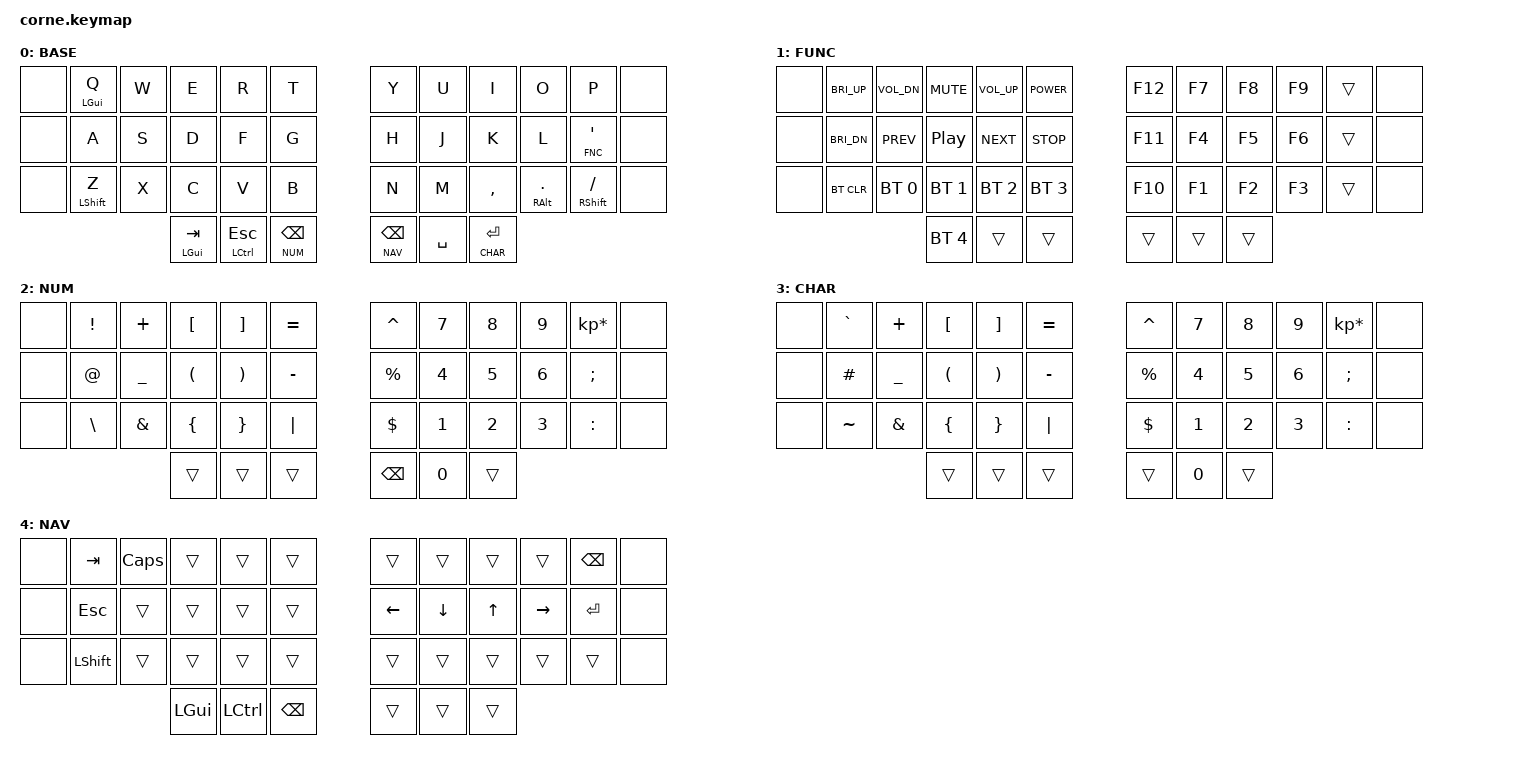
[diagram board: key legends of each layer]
/*
 * Copyright (c) 2020 The ZMK Contributors
 *
 * SPDX-License-Identifier: MIT
 */

#include <behaviors.dtsi>
#include <dt-bindings/zmk/keys.h>
#include <dt-bindings/zmk/bt.h>

#define BASE 0
#define FNC  1
#define NUM  2
#define CHAR 3
#define NAV  4

&lt {
        tapping-term-ms = <175>;
        flavor = "hold-preferred";
};

/ {
        behaviors {
                hm: homerow_mods {
                        compatible = "zmk,behavior-hold-tap";
                        label = "homerow mods";
                        #binding-cells = <2>;
                        tapping_term_ms = <150>;
                        flavor = "balanced";
                        bindings = <&kp>, <&kp>;
                };

                dk: delete_keys {
                        compatible = "zmk,behavior-hold-tap";
                        label = "delete keys";
                        #binding-cells = <2>;
                        tapping_term_ms = <150>;
                        quick-tap-ms = <100>;
                        flavor = "hold-preferred";
                        bindings = <&mo>, <&kp>;
                };

                sh: shift_keys {
                        compatible = "zmk,behavior-hold-tap";
                        label = "shift keys";
                        #binding-cells = <2>;
                        tapping_term_ms = <170>;
                        quick-tap-ms = <90>;
                        flavor = "hold-preferred";
                        bindings = <&kp>, <&kp>;
                };

                fb: function_button {
                        compatible = "zmk,behavior-hold-tap";
                        label = "function button";
                        #binding-cells = <2>;
                        tapping_term_ms = <200>;
                        require-prior-idle-ms = <125>;
                        flavor = "tap-preferred";
                        bindings = <&mo>, <&kp>;
                };
        };

        keymap {
                compatible = "zmk,keymap";

                default_layer {
                        label = "BASE";
// -----------------------------------------------------------------------------------------
// |  Q  |  W  |  E  |  R  |  T  |   |  Y  |  U   |  I            |  O  |  P  |
// |  A  |  S  |  D  |  F  |  G  |   |  H  |  J   |  K            |  L  |  '  |
// |  Z  |  X  |  C  |  V  |  B  |   |  N  |  M   |  ,            |  .  |  /  |
//                    | GUI | LWR | SPC |  | ESC  | RSHIFT/SPACE  | ALT |
                        bindings = <
  &none   &hm LGUI Q   &kp W        &kp E           &kp R          &kp T        &kp Y      &kp U    &kp I       &kp O        &kp P              &none
  &none   &kp A        &kp S        &kp D           &kp F          &kp G        &kp H      &kp J    &kp K       &kp L        &fb        FNC SQT &none
  &none   &sh LSHIFT Z &kp X        &kp C           &kp V          &kp B        &kp N      &kp M    &kp COMMA   &hm RALT DOT &sh RSHIFT FSLH    &none
               &hm LGUI TAB         &mt LCTRL ESC   &dk NUM BSPC   &dk NAV BSPC &kp SPACE  &lt CHAR RET
                        >;
                };
                function_layer {
                        label = "FUNC";
// -----------------------------------------------------------------------------------------
// | BRIG+ |  V-  | mute  |  V+  | PWR  |   | F12 | F7 | F8 | F9 | trans |
// | BRIG- | Prev | Pause | Next | Stop |   | F11 | F4 | F5 | F6 | trans |
// | /Ble  | Ble0 | Ble1  | Ble2 | Ble3 |   | F10 | F1 | F2 | F3 | trans |
//                | Ble4  | LWR  | SPC  |   | ENT | -- | ALT |
                        bindings = <
  &none &kp C_BRI_UP  &kp C_VOL_DN  &kp C_MUTE        &kp C_VOL_UP  &kp C_POWER      &kp F12 &kp F7 &kp F8  &kp F9  &trans &none
  &none &kp C_BRI_DN  &kp C_PREV    &kp C_PLAY_PAUSE  &kp C_NEXT    &kp C_STOP       &kp F11 &kp F4 &kp F5  &kp F6  &trans &none
  &none &bt BT_CLR    &bt BT_SEL 0  &bt BT_SEL 1      &bt BT_SEL 2  &bt BT_SEL 3     &kp F10 &kp F1 &kp F2  &kp F3  &trans &none
                      &bt BT_SEL 4    &trans   &trans         &trans    &trans &trans
                        >;
                };
                num_layer {
                        label = "NUM";
// -----------------------------------------------------------------------------------------
// | ! |  +  |  [  |  ]  |  =  |   | ^  | 7  |  8  | 9  | * |
// | @ |  _  |  (  |  )  |  -  |   | %  | 4  |  5  | 6  | ; |
// | \ |  &  |  {  |  }  |  |  |   | $  | 1  |  2  | 3  | : |
//           | --- | --- | --- |        | -- |  0  | -- |
                        bindings = <
  &none &kp EXCL  &kp PLUS  &kp LBKT  &kp RBKT &kp EQUAL      &kp CARET &kp N7 &kp N8   &kp N9 &kp KP_MULTIPLY &none
  &none &kp AT    &kp UNDER &kp LPAR  &kp RPAR &kp MINUS      &kp PRCNT &kp N4 &kp N5   &kp N6 &kp SEMI        &none
  &none &kp BSLH  &kp AMPS  &kp LBRC  &kp RBRC &kp PIPE       &kp DLLR  &kp N1 &kp N2   &kp N3 &kp COLON       &none
                       &trans    &trans   &trans              &kp BSPC  &kp N0 &trans
                        >;
                };
                char_layer {
                        label = "CHAR";
// -----------------------------------------------------------------------------------------
// | ` |  +  |  [  |  ]  |  =  |   | ^ | 7 | 8 | 9 | * |
// | # |  _  |  (  |  )  |  -  |   | % | 4 | 5 | 6 | ; |
// | ~ |  &  |  {  |  }  |  |  |   | $ | 1 | 2 | 3 | : |
//           | --- | --- | --- |   | @ | 0 | ! |
                        bindings = <
  &none &kp GRAVE &kp PLUS  &kp LBKT  &kp RBKT &kp EQUAL      &kp CARET &kp N7 &kp N8   &kp N9 &kp KP_MULTIPLY  &none
  &none &kp HASH  &kp UNDER &kp LPAR  &kp RPAR &kp MINUS      &kp PRCNT &kp N4 &kp N5   &kp N6 &kp SEMI         &none
  &none &kp TILDE &kp AMPS  &kp LBRC  &kp RBRC &kp PIPE       &kp DLLR  &kp N1 &kp N2   &kp N3 &kp COLON        &none
                       &trans    &trans   &trans              &trans    &kp N0 &trans
                        >;
                };
                nav_layer {
                        label = "NAV";
// -----------------------------------------------------------------------------------------
                        bindings = <
  &none &kp TAB    &kp CAPS  &trans    &trans   &trans         &trans   &trans   &trans    &trans    &kp BSPC &none
  &none &kp ESC    &trans    &trans    &trans   &trans         &kp LEFT &kp DOWN &kp UP    &kp RIGHT &kp RET  &none
  &none &kp LSHIFT &trans    &trans    &trans   &trans         &trans   &trans   &trans    &trans    &trans   &none
                     &kp LGUI  &kp LCTRL  &kp BSPC             &trans   &trans   &trans
                        >;
                };
        };
};
